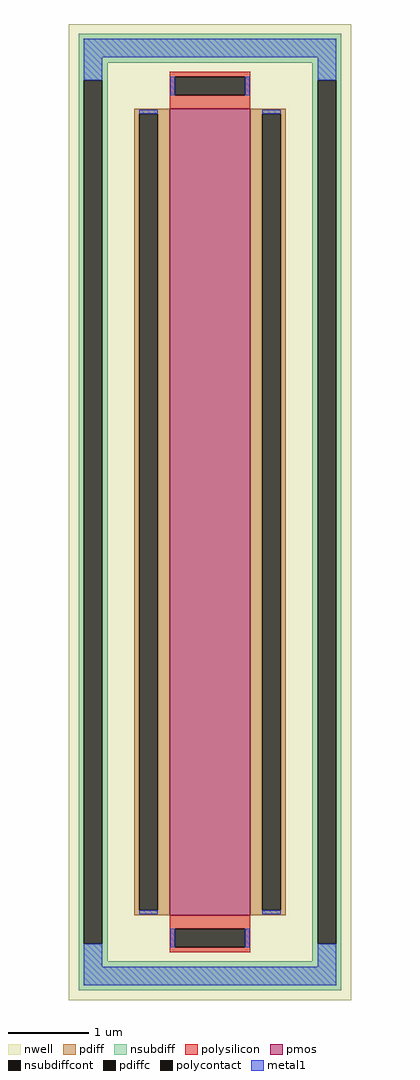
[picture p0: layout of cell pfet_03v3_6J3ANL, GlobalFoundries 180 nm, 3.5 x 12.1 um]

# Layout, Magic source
magic
tech gf180mcuD
magscale 1 10
<< nwell >>
rect -350 -1210 350 1210
<< pmos >>
rect -100 -1000 100 1000
<< pdiff >>
rect -188 987 -100 1000
rect -188 -987 -175 987
rect -129 -987 -100 987
rect -188 -1000 -100 -987
rect 100 987 188 1000
rect 100 -987 129 987
rect 175 -987 188 987
rect 100 -1000 188 -987
<< pdiffc >>
rect -175 -987 -129 987
rect 129 -987 175 987
<< nsubdiff >>
rect -326 1114 326 1186
rect -326 1070 -254 1114
rect -326 -1070 -313 1070
rect -267 -1070 -254 1070
rect 254 1070 326 1114
rect -326 -1114 -254 -1070
rect 254 -1070 267 1070
rect 313 -1070 326 1070
rect 254 -1114 326 -1070
rect -326 -1186 326 -1114
<< nsubdiffcont >>
rect -313 -1070 -267 1070
rect 267 -1070 313 1070
<< polysilicon >>
rect -100 1079 100 1092
rect -100 1033 -87 1079
rect 87 1033 100 1079
rect -100 1000 100 1033
rect -100 -1033 100 -1000
rect -100 -1079 -87 -1033
rect 87 -1079 100 -1033
rect -100 -1092 100 -1079
<< polycontact >>
rect -87 1033 87 1079
rect -87 -1079 87 -1033
<< metal1 >>
rect -313 1127 313 1173
rect -313 1070 -267 1127
rect -98 1033 -87 1079
rect 87 1033 98 1079
rect 267 1070 313 1127
rect -175 987 -129 998
rect -175 -998 -129 -987
rect 129 987 175 998
rect 129 -998 175 -987
rect -313 -1127 -267 -1070
rect -98 -1079 -87 -1033
rect 87 -1079 98 -1033
rect 267 -1127 313 -1070
rect -313 -1173 313 -1127
<< properties >>
string FIXED_BBOX -290 -1150 290 1150
string gencell pfet_03v3
string library gf180mcu
string parameters w 10.0 l 1.0 m 1 nf 1 diffcov 100 polycov 100 guard 1 glc 1 grc 1 gtc 0 gbc 0 tbcov 100 rlcov 100 topc 1 botc 1 poverlap 0 doverlap 1 lmin 0.28 wmin 0.22 class mosfet full_metal 1 compatible {pfet_03v3 pfet_05v0 pfet_06v0} ad int((nf+1)/2)*W/nf*0.18u as int((nf+2)/2)*W/nf*0.18u pd 2*int((nf+1)/2)*(W/nf+0.18u) ps 2*int((nf+2)/2)*(W/nf+0.18u) nrd 0.18u/W nrs 0.18u/W sa 0 sb 0 sd 0
<< end >>
